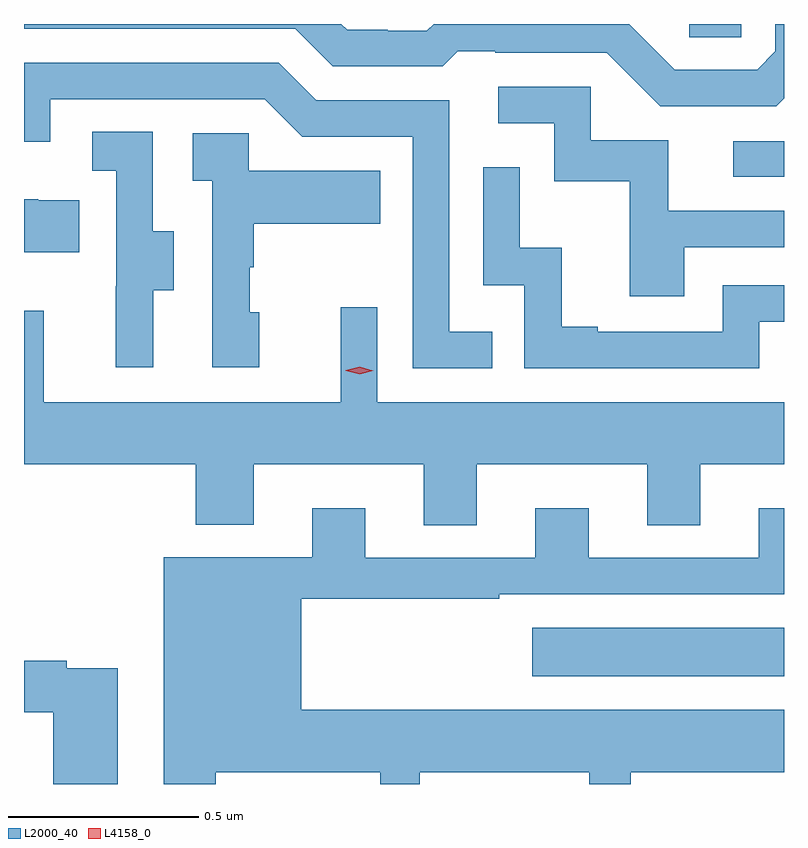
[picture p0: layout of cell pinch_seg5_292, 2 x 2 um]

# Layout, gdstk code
import gdstk
lib = gdstk.Library(unit=1e-6, precision=1e-09)
def R(c, l, rs):  # rectangles x0, y0, x1, y1
    for r in rs: c.add(gdstk.rectangle(r[:2], r[2:], *l))
def P(c, l, *ps):  # polygons
    for p in ps: c.add(gdstk.Polygon(p, *l))
L2000_40 = (2000, 40)
L4158_0 = (4158, 0)

pinch_seg5_292 = lib.new_cell('pinch_seg5_292')
R(pinch_seg5_292, L2000_40, [(923.391,898.826,924.053,898.954), (923.919,900.141,924.053,900.234), (923.803,900.508,923.94,900.543)])
P(pinch_seg5_292, L2000_40, [(924.053,900.347),(924.053,900.543),(924.03,900.543),(924.03,900.471),(923.982,900.423),(923.766,900.423),(923.646,900.543),(923.131,900.543),(923.113,900.525),(923.01,900.525),(923.01,900.528),(922.903,900.528),(922.888,900.543),(922.053,900.543),(922.053,900.531),(922.767,900.531),(922.866,900.432),(923.155,900.432),(923.194,900.471),(923.293,900.471),(923.293,900.468),(923.586,900.468),(923.727,900.327),(924.033,900.327)],
  [(923.285,899.733),(923.172,899.733),(923.172,900.342),(922.822,900.342),(922.723,900.441),(922.053,900.441),(922.053,900.233),(922.122,900.233),(922.122,900.345),(922.686,900.345),(922.785,900.246),(923.076,900.246),(923.076,899.637),(923.285,899.637)],
  [(923.791,899.955),(924.053,899.955),(924.053,900.051),(923.749,900.051),(923.749,900.237),(923.544,900.237),(923.544,900.378),(923.301,900.378),(923.301,900.282),(923.448,900.282),(923.448,900.129),(923.647,900.129),(923.647,899.826),(923.791,899.826)],
  [(922.393,899.842),(922.447,899.842),(922.447,899.997),(922.392,899.997),(922.392,900.26),(922.233,900.26),(922.233,900.157),(922.296,900.157),(922.296,899.853),(922.295,899.853),(922.295,899.64),(922.393,899.64)],
  [(922.672,899.784),(922.647,899.784),(922.647,899.903),(922.657,899.903),(922.657,900.017),(922.991,900.017),(922.991,900.157),(922.644,900.157),(922.644,900.255),(922.497,900.255),(922.497,900.131),(922.548,900.131),(922.548,899.64),(922.672,899.64)],
  [(923.988,899.76),(924.053,899.76),(924.053,899.856),(923.892,899.856),(923.892,899.733),(923.563,899.733),(923.563,899.746),(923.468,899.746),(923.468,899.954),(923.358,899.954),(923.358,900.166),(923.262,900.166),(923.262,899.856),(923.37,899.856),(923.37,899.637),(923.988,899.637)],
  [(922.199,900.079),(922.091,900.079),(922.091,900.082),(922.053,900.082),(922.053,899.942),(922.199,899.942)],
  [(923.245,899.384),(923.693,899.384),(923.693,899.224),(923.833,899.224),(923.833,899.384),(924.053,899.384),(924.053,899.548),(922.983,899.548),(922.983,899.797),(922.886,899.797),(922.886,899.548),(922.105,899.548),(922.105,899.788),(922.053,899.788),(922.053,899.384),(922.505,899.384),(922.505,899.225),(922.657,899.225),(922.657,899.384),(923.105,899.384),(923.105,899.224),(923.245,899.224)],
  [(922.558,898.574),(922.991,898.574),(922.991,898.543),(923.095,898.543),(923.095,898.574),(923.54,898.574),(923.54,898.543),(923.65,898.543),(923.65,898.574),(924.053,898.574),(924.053,898.738),(922.783,898.738),(922.783,899.031),(923.303,899.031),(923.303,899.043),(924.053,899.043),(924.053,899.269),(923.987,899.269),(923.987,899.139),(923.539,899.139),(923.539,899.269),(923.399,899.269),(923.399,899.139),(922.951,899.139),(922.951,899.269),(922.811,899.269),(922.811,899.14),(922.421,899.14),(922.421,898.543),(922.558,898.543)],
  [(922.3,898.848),(922.166,898.848),(922.166,898.868),(922.053,898.868),(922.053,898.732),(922.13,898.732),(922.13,898.543),(922.3,898.543)])
P(pinch_seg5_292, L4158_0, [(922.936,899.621),(922.9,899.631),(922.9,899.632),(922.9,899.632),(922.936,899.641),(922.972,899.631),(922.972,899.631),(922.972,899.631)])

lib.write_gds('pinch_seg5_292.gds')
